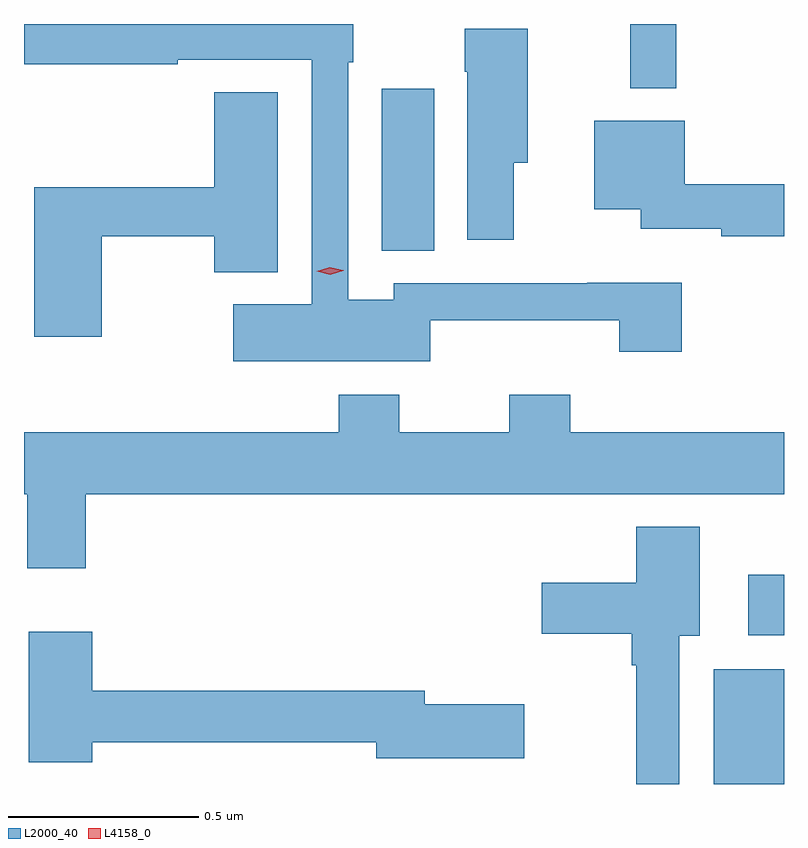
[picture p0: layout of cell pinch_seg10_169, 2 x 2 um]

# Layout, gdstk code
import gdstk
lib = gdstk.Library(unit=1e-6, precision=1e-09)
def R(c, l, rs):  # rectangles x0, y0, x1, y1
    for r in rs: c.add(gdstk.rectangle(r[:2], r[2:], *l))
def P(c, l, *ps):  # polygons
    for p in ps: c.add(gdstk.Polygon(p, *l))
L2000_40 = (2000, 40)
L4158_0 = (4158, 0)

pinch_seg10_169 = lib.new_cell('pinch_seg10_169')
R(pinch_seg10_169, L2000_40, [(721.454,1282.238,721.639,1282.54), (721.545,1282.629,721.639,1282.789), (720.581,1283.641,720.718,1284.067), (721.234,1284.069,721.355,1284.238)])
P(pinch_seg10_169, L2000_40, [(720.708,1283.459),(721.205,1283.459),(721.205,1283.376),(721.37,1283.376),(721.37,1283.557),(721.121,1283.557),(721.121,1283.556),(720.612,1283.556),(720.612,1283.512),(720.492,1283.512),(720.492,1284.137),(720.505,1284.137),(720.505,1284.238),(719.639,1284.238),(719.639,1284.132),(720.044,1284.132),(720.044,1284.144),(720.396,1284.144),(720.396,1283.5),(720.189,1283.5),(720.189,1283.351),(720.708,1283.351)],
  [(720.928,1283.873),(720.964,1283.873),(720.964,1284.226),(720.799,1284.226),(720.799,1284.113),(720.806,1284.113),(720.806,1283.67),(720.928,1283.67)],
  [(719.844,1283.68),(720.14,1283.68),(720.14,1283.585),(720.307,1283.585),(720.307,1284.059),(720.14,1284.059),(720.14,1283.809),(719.666,1283.809),(719.666,1283.415),(719.844,1283.415)],
  [(721.639,1283.816),(721.378,1283.816),(721.378,1283.983),(721.139,1283.983),(721.139,1283.75),(721.262,1283.75),(721.262,1283.699),(721.474,1283.699),(721.474,1283.68),(721.639,1283.68)],
  [(719.801,1283),(721.639,1283),(721.639,1283.164),(721.076,1283.164),(721.076,1283.263),(720.916,1283.263),(720.916,1283.164),(720.627,1283.164),(720.627,1283.263),(720.467,1283.263),(720.467,1283.164),(719.639,1283.164),(719.639,1283),(719.648,1283),(719.648,1282.806),(719.801,1282.806)],
  [(721.363,1282.628),(721.417,1282.628),(721.417,1282.915),(721.25,1282.915),(721.25,1282.768),(721.002,1282.768),(721.002,1282.634),(721.238,1282.634),(721.238,1282.55),(721.25,1282.55),(721.25,1282.238),(721.363,1282.238)],
  [(719.818,1282.348),(720.566,1282.348),(720.566,1282.306),(720.955,1282.306),(720.955,1282.448),(720.694,1282.448),(720.694,1282.484),(719.818,1282.484),(719.818,1282.639),(719.651,1282.639),(719.651,1282.295),(719.818,1282.295)])
P(pinch_seg10_169, L4158_0, [(720.445,1283.578),(720.41,1283.587),(720.41,1283.587),(720.41,1283.587),(720.444,1283.598),(720.479,1283.59),(720.48,1283.59),(720.479,1283.589)])

lib.write_gds('pinch_seg10_169.gds')
